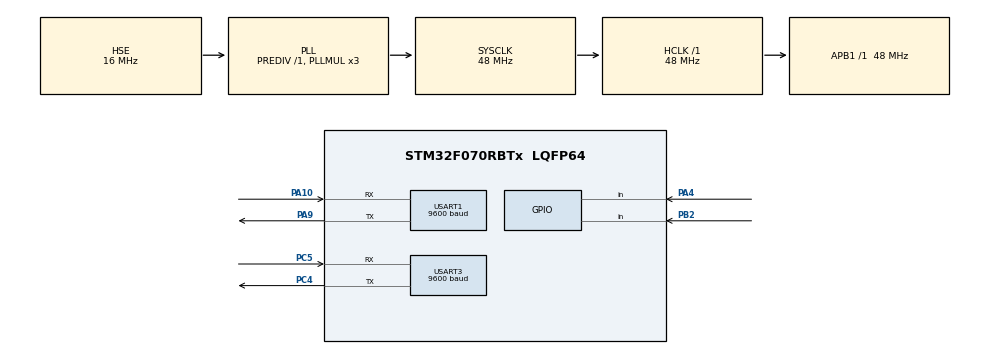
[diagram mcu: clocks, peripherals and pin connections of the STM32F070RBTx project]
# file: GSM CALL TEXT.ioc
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Mcu.Family=STM32F0
Mcu.Name=STM32F070RBTx
Mcu.Package=LQFP64
NVIC.USART1_IRQn=true\:0\:0\:false\:false\:true
NVIC.USART3_4_IRQn=true\:0\:0\:false\:false\:true
PA10.Mode=Asynchronous
PA10.Signal=USART1_RX
PA4.GPIO_PuPd=GPIO_PULLUP
PA4.Signal=GPIO_Input
PA9.Mode=Asynchronous
PA9.Signal=USART1_TX
PB2.GPIO_PuPd=GPIO_PULLUP
PB2.Signal=GPIO_Input
PC4.Mode=Asynchronous
PC4.Signal=USART3_TX
PC5.Mode=Asynchronous
PC5.Signal=USART3_RX
PF0-OSC_IN.Mode=HSE-External-Oscillator
PF0-OSC_IN.Signal=RCC_OSC_IN
PF1-OSC_OUT.Mode=HSE-External-Oscillator
PF1-OSC_OUT.Signal=RCC_OSC_OUT
ProjectManager.HeapSize=0x200
ProjectManager.StackSize=0x400
ProjectManager.TargetToolchain=MDK-ARM V5
RCC.AHBFreq_Value=48000000
RCC.APB1Freq_Value=48000000
RCC.APB1TimFreq_Value=48000000
RCC.HCLKFreq_Value=48000000
RCC.HSE_VALUE=16000000
RCC.PLLMUL=RCC_PLL_MUL3
RCC.PLLSourceVirtual=RCC_PLLSOURCE_HSE
RCC.SYSCLKFreq_VALUE=48000000
RCC.SYSCLKSource=RCC_SYSCLKSOURCE_PLLCLK
USART1.BaudRate=9600
USART1.VirtualMode-Asynchronous=VM_ASYNC
USART1.WordLength=WORDLENGTH_8B
USART3.BaudRate=9600
USART3.VirtualMode-Asynchronous=VM_ASYNC
USART3.WordLength=WORDLENGTH_8B
board=GSM CALL TEXT

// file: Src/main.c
/**
  ******************************************************************************
  * File Name          : main.c
  * Description        : Main program body
  ******************************************************************************
  ** This notice applies to any and all portions of this file
  * that are not between comment pairs USER CODE BEGIN and
  * USER CODE END. Other portions of this file, whether
  * inserted by the user or by software development tools
  * are owned by their respective copyright owners.
  *
  * COPYRIGHT(c) 2017 STMicroelectronics
  *
  * Redistribution and use in source and binary forms, with or without modification,
  * are permitted provided that the following conditions are met:
  *   1. Redistributions of source code must retain the above copyright notice,
  *      this list of conditions and the following disclaimer.
  *   2. Redistributions in binary form must reproduce the above copyright notice,
  *      this list of conditions and the following disclaimer in the documentation
  *      and/or other materials provided with the distribution.
  *   3. Neither the name of STMicroelectronics nor the names of its contributors
  *      may be used to endorse or promote products derived from this software
  *      without specific prior written permission.
  *
  * THIS SOFTWARE IS PROVIDED BY THE COPYRIGHT HOLDERS AND CONTRIBUTORS "AS IS"
  * AND ANY EXPRESS OR IMPLIED WARRANTIES, INCLUDING, BUT NOT LIMITED TO, THE
  * IMPLIED WARRANTIES OF MERCHANTABILITY AND FITNESS FOR A PARTICULAR PURPOSE ARE
  * DISCLAIMED. IN NO EVENT SHALL THE COPYRIGHT HOLDER OR CONTRIBUTORS BE LIABLE
  * FOR ANY DIRECT, INDIRECT, INCIDENTAL, SPECIAL, EXEMPLARY, OR CONSEQUENTIAL
  * DAMAGES (INCLUDING, BUT NOT LIMITED TO, PROCUREMENT OF SUBSTITUTE GOODS OR
  * SERVICES; LOSS OF USE, DATA, OR PROFITS; OR BUSINESS INTERRUPTION) HOWEVER
  * CAUSED AND ON ANY THEORY OF LIABILITY, WHETHER IN CONTRACT, STRICT LIABILITY,
  * OR TORT (INCLUDING NEGLIGENCE OR OTHERWISE) ARISING IN ANY WAY OUT OF THE USE
  * OF THIS SOFTWARE, EVEN IF ADVISED OF THE POSSIBILITY OF SUCH DAMAGE.
  *
  ******************************************************************************
  */
#include "main.h"
#include "stm32f0xx_hal.h"

UART_HandleTypeDef huart1;
UART_HandleTypeDef huart3;

/* USER CODE BEGIN PV */
/* Private variables ---------------------------------------------------------*/
unsigned char ch;
char buffer[50];
int i=0,s1,s2;
/* USER CODE END PV */

void SystemClock_Config(void);
static void MX_GPIO_Init(void);
static void MX_USART1_UART_Init(void);
static void MX_USART3_UART_Init(void);

/* USER CODE BEGIN PFP */
/* Private function prototypes -----------------------------------------------*/

/* USER CODE END PFP */

/* USER CODE BEGIN 0 */
void gsmmakecall()
{
HAL_UART_Transmit(&huart1,"AT\r\n",3,100);
HAL_Delay(1000);

sprintf(buffer,"ATD+918285884700;\r\n");
i=strlen(buffer);
for(int j=0;j<=i;j++)
{
//HAL_UART_Transmit(&huart1,&buffer[j],1,20);
HAL_UART_Transmit(&huart3,&buffer[j],1,20);
}
HAL_Delay(20000);
}

void gsmtext()
{
HAL_UART_Transmit(&huart3,"AT\r\n",3,10);
HAL_Delay(1000);

HAL_UART_Transmit(&huart3,"AT+CMGF=1\r\n",10,10);
HAL_Delay(2000);

sprintf(buffer,"AT+CMGS=\"+918285884700\"\r\n");
i=strlen(buffer);
for(int j=0;j<=i;j++)
{
HAL_UART_Transmit(&huart3,&buffer[j],1,20);
}
HAL_Delay(2000);

sprintf(buffer,"hello gsm\r\n\x1A");
i=strlen(buffer);
for(int j=0;j<=i;j++)
{
HAL_UART_Transmit(&huart3,&buffer[j],1,20);
}
HAL_Delay(2000);

}
/* USER CODE END 0 */

int main(void)
{

  /* MCU Configuration----------------------------------------------------------*/

  /* Reset of all peripherals, Initializes the Flash interface and the Systick. */
  HAL_Init();

  /* Configure the system clock */
  SystemClock_Config();

  /* Initialize all configured peripherals */
  MX_GPIO_Init();
  MX_USART1_UART_Init();
  MX_USART3_UART_Init();

  /* USER CODE BEGIN 2 */
//gsmmakecall();
//gsmtext();
  /* USER CODE END 2 */

  /* Infinite loop */
  while (1)
  {

  /* USER CODE BEGIN 3 */
s1=HAL_GPIO_ReadPin(GPIOB,GPIO_PIN_2);
s2=HAL_GPIO_ReadPin(GPIOA,GPIO_PIN_4);
if(s1==0)
{
gsmmakecall();
}

if(s2==0)
{
gsmtext();
}
  }
  /* USER CODE END 3 */

}

/** System Clock Configuration
*/
void SystemClock_Config(void)
{

  RCC_OscInitTypeDef RCC_OscInitStruct;
  RCC_ClkInitTypeDef RCC_ClkInitStruct;
  RCC_PeriphCLKInitTypeDef PeriphClkInit;

    /**Initializes the CPU, AHB and APB busses clocks
    */
  RCC_OscInitStruct.OscillatorType = RCC_OSCILLATORTYPE_HSE;
  RCC_OscInitStruct.HSEState = RCC_HSE_ON;
  RCC_OscInitStruct.HSIState = RCC_HSI_ON;
  RCC_OscInitStruct.PLL.PLLState = RCC_PLL_ON;
  RCC_OscInitStruct.PLL.PLLSource = RCC_PLLSOURCE_HSE;
  RCC_OscInitStruct.PLL.PLLMUL = RCC_PLL_MUL3;
  RCC_OscInitStruct.PLL.PREDIV = RCC_PREDIV_DIV1;
  if (HAL_RCC_OscConfig(&RCC_OscInitStruct) != HAL_OK)
  {
    _Error_Handler(__FILE__, __LINE__);
  }

    /**Initializes the CPU, AHB and APB busses clocks
    */
  RCC_ClkInitStruct.ClockType = RCC_CLOCKTYPE_HCLK|RCC_CLOCKTYPE_SYSCLK
                              |RCC_CLOCKTYPE_PCLK1;
  RCC_ClkInitStruct.SYSCLKSource = RCC_SYSCLKSOURCE_PLLCLK;
  RCC_ClkInitStruct.AHBCLKDivider = RCC_SYSCLK_DIV1;
  RCC_ClkInitStruct.APB1CLKDivider = RCC_HCLK_DIV1;

  if (HAL_RCC_ClockConfig(&RCC_ClkInitStruct, FLASH_LATENCY_1) != HAL_OK)
  {
    _Error_Handler(__FILE__, __LINE__);
  }

  PeriphClkInit.PeriphClockSelection = RCC_PERIPHCLK_USART1;
  PeriphClkInit.Usart1ClockSelection = RCC_USART1CLKSOURCE_PCLK1;
  if (HAL_RCCEx_PeriphCLKConfig(&PeriphClkInit) != HAL_OK)
  {
    _Error_Handler(__FILE__, __LINE__);
  }

    /**Configure the Systick interrupt time
    */
  HAL_SYSTICK_Config(HAL_RCC_GetHCLKFreq()/1000);

    /**Configure the Systick
    */
  HAL_SYSTICK_CLKSourceConfig(SYSTICK_CLKSOURCE_HCLK);

  /* SysTick_IRQn interrupt configuration */
  HAL_NVIC_SetPriority(SysTick_IRQn, 0, 0);
}

/* USART1 init function */
static void MX_USART1_UART_Init(void)
{

  huart1.Instance = USART1;
  huart1.Init.BaudRate = 9600;
  huart1.Init.WordLength = UART_WORDLENGTH_8B;
  huart1.Init.StopBits = UART_STOPBITS_1;
  huart1.Init.Parity = UART_PARITY_NONE;
  huart1.Init.Mode = UART_MODE_TX_RX;
  huart1.Init.HwFlowCtl = UART_HWCONTROL_NONE;
  huart1.Init.OverSampling = UART_OVERSAMPLING_16;
  huart1.Init.OneBitSampling = UART_ONE_BIT_SAMPLE_DISABLE;
  huart1.AdvancedInit.AdvFeatureInit = UART_ADVFEATURE_NO_INIT;
  if (HAL_UART_Init(&huart1) != HAL_OK)
  {
    _Error_Handler(__FILE__, __LINE__);
  }

}

/* USART3 init function */
static void MX_USART3_UART_Init(void)
{

  huart3.Instance = USART3;
  huart3.Init.BaudRate = 9600;
  huart3.Init.WordLength = UART_WORDLENGTH_8B;
  huart3.Init.StopBits = UART_STOPBITS_1;
  huart3.Init.Parity = UART_PARITY_NONE;
  huart3.Init.Mode = UART_MODE_TX_RX;
  huart3.Init.HwFlowCtl = UART_HWCONTROL_NONE;
  huart3.Init.OverSampling = UART_OVERSAMPLING_16;
  huart3.Init.OneBitSampling = UART_ONE_BIT_SAMPLE_DISABLE;
  huart3.AdvancedInit.AdvFeatureInit = UART_ADVFEATURE_NO_INIT;
  if (HAL_UART_Init(&huart3) != HAL_OK)
  {
    _Error_Handler(__FILE__, __LINE__);
  }

}

/** Configure pins as
        * Analog
        * Input
        * Output
        * EVENT_OUT
        * EXTI
*/
static void MX_GPIO_Init(void)
{

  GPIO_InitTypeDef GPIO_InitStruct;

  /* GPIO Ports Clock Enable */
  __HAL_RCC_GPIOF_CLK_ENABLE();
  __HAL_RCC_GPIOA_CLK_ENABLE();
  __HAL_RCC_GPIOC_CLK_ENABLE();
  __HAL_RCC_GPIOB_CLK_ENABLE();

  /*Configure GPIO pin : PA4 */
  GPIO_InitStruct.Pin = GPIO_PIN_4;
  GPIO_InitStruct.Mode = GPIO_MODE_INPUT;
  GPIO_InitStruct.Pull = GPIO_PULLUP;
  HAL_GPIO_Init(GPIOA, &GPIO_InitStruct);

  /*Configure GPIO pin : PB2 */
  GPIO_InitStruct.Pin = GPIO_PIN_2;
  GPIO_InitStruct.Mode = GPIO_MODE_INPUT;
  GPIO_InitStruct.Pull = GPIO_PULLUP;
  HAL_GPIO_Init(GPIOB, &GPIO_InitStruct);

}

void _Error_Handler(char * file, int line)
{
  while(1)
  {
  }
}

/************************ (C) COPYRIGHT STMicroelectronics *****END OF FILE****/
